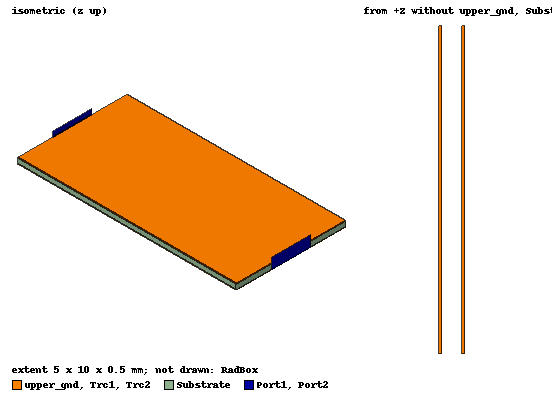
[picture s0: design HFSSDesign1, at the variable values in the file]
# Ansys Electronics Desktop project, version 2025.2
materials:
  vacuum: permittivity=1
  Isola I-Speed IS (R): permittivity=3.3 dielectric_loss_tangent=0.0064
  Krempel Akaflex PCL (tm): permittivity=3.3 dielectric_loss_tangent=0.0052
  Material1: permittivity=3.3 dielectric_loss_tangent=0.003
  copper: permeability=0.999991 conductivity=58000000
  air: permittivity=1.0006 permeability=1.0000004

design HFSSDesign1 (HFSS, HFSS Terminal Network, model units mm)
options: Calculate_Lossy_Dielectrics
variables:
  W_trace = 0.09mm
  d_separation = 0.6mm
  iso_width = 0.18mm
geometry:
  RadBox [air] = box(corner=(-10mm, 0mm, 0mm), size=(25mm, 10mm, 10mm))
  Port1 = rectangle(corner=(2.5mm-0.5*(W_trace+2*d_separation+0.5mm), 0mm, 0mm), z_size=0.5mm, x_size=W_trace+2*d_separation+0.5mm)
  Port2 = rectangle(corner=(2.5mm-0.5*(W_trace+2*d_separation+0.5mm), 10mm, 0mm), z_size=0.5mm, x_size=W_trace+2*d_separation+0.5mm)
  Substrate [Material1] = box(corner=(0mm, 0mm, 0.02mm), size=(5mm, 10mm, 0.22mm))
  Trace1 = box(corner=(2.5mm-d_separation/2-W_trace, 0mm, 0.12mm), size=(W_trace, 10mm, 0.02mm))
  Trace2 = box(corner=(2.5mm+d_separation/2, 0mm, 0.12mm), size=(W_trace, 10mm, 0.02mm))
  Trc1 [copper] = box(corner=(2.5mm-d_separation/2-W_trace, 0mm, 0.12mm), size=(W_trace, 10mm, 0.02mm))
  Trc2 [copper] = box(corner=(2.5mm+d_separation/2, 0mm, 0.12mm), size=(W_trace, 10mm, 0.02mm))
  Substrate.subtract(Trace1, Trace2)
  Cylinder1 = cylinder(axis=Z, base_centre=(2.5mm, 0.17mm, 0.02mm), radius=0.1mm, height=0.24mm)
  Cylinder1.duplicate_along_line(step=(0mm, 0.249mm, 0mm), total=40, attached)
  Cylinder1_1 = Cylinder1.copy()
  Substrate.subtract(Cylinder1_1)
  lower_gnd = box(corner=(5mm, 10mm, 0mm), size=(-5mm, -10mm, 0.02mm))
  upper_gnd [copper] = box(corner=(5mm, 10mm, (0.02+0.1+0.12) mm), size=(-5mm, -10mm, 0.02mm))
  upper_gnd.unite(lower_gnd, Cylinder1)
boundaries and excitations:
  Rad1: Radiation Objects=RadBox
  Trc1_T1: Terminal port=1 Faces=Trc1.face(+y) TerminalResistance=50ohm
  Trc2_T1: Terminal port=1 Faces=Trc2.face(+y) TerminalResistance=50ohm
  Trc1_T2: Terminal port=2 Faces=Trc1.face(-y) TerminalResistance=50ohm
  Trc2_T2: Terminal port=2 Faces=Trc2.face(-y) TerminalResistance=50ohm
  1: Wave Port Faces=Port2.face WavePortType=Terminal NumModes=1
  2: Wave Port Faces=Port1.face WavePortType=Terminal NumModes=1 SpecifiedWaveDirectionFlip
  reference conductors: upper_gnd
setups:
  Setup1: HfssDriven Frequency=50GHz MaxDeltaS=0.03 MaximumPasses=20 MinimumPasses=1 MinimumConvergedPasses=1 PercentRefinement=30 BasisOrder=1 PortAccuracy=2 DrivenSolverType="Direct Solver"
    sweep Sweep: 0.001GHz to 50GHz step 0.1GHz; Type=Interpolating InterpTolerance=0.5 InterpMaxSolns=250 InterpUsePortImped=false InterpUsePropConst=false PassivityErrorTolerance=0.0001
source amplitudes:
  1:1: 1V 0deg
  1:2, 2:1, 2:2: 0V 0deg
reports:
  Terminal S Parameter Plot1: dB(St(Trc1_T2,Trc1_T1)) vs Freq on Setup1 : Sweep; markers m1 at 10.001GHz, m2 at 49.901GHz
